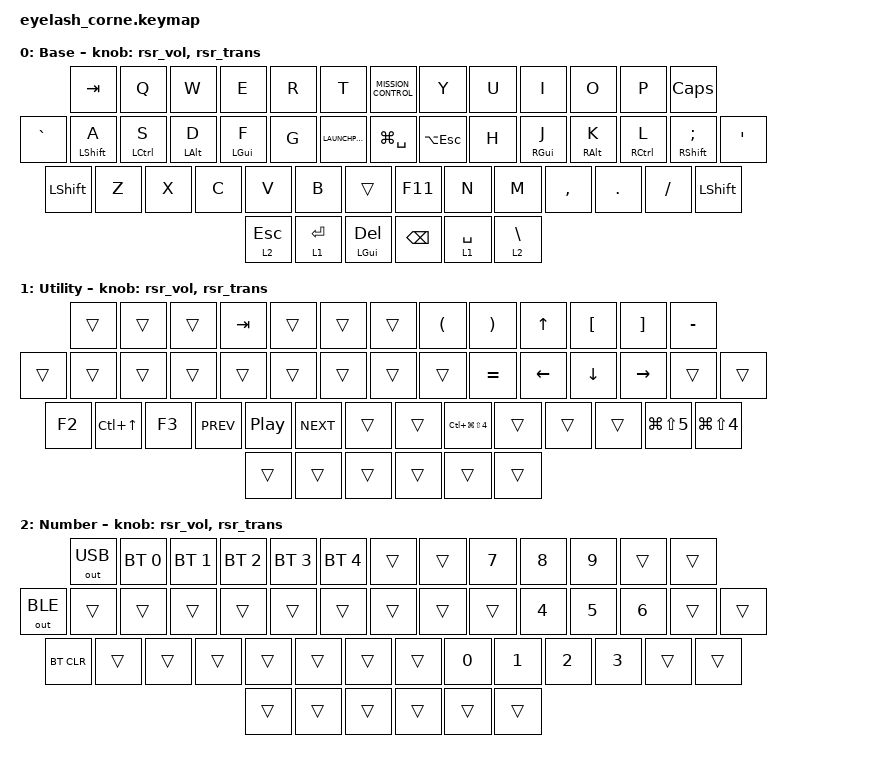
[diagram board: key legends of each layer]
/*
 * Keymap for the Eyelash Peripherals Corne (eyelash_corne shield).
 *
 * 48-key, 5-row matrix - NOT the 42-key foostan corne. Bindings follow the
 * shield's matrix transform, in this order:
 *
 * row0: TAB      Q    W     E     R     T          UP                   Y       U    I      O     P     CAPS
 * row1: GRAVE    A    S     D     F     G  LEFT ENTER RIGHT    H        J    K      L     SEMI  SQT
 * row2: LSHFT    Z    X     C     V     B  ---- STICK ----   N       M    COMMA  DOT   FSLH  LSHFT
 * thr:                 LT(2,ESC) LT(1,RET) MT(LGUI,DEL)      BSPC  LT(1,SPACE) LT(2,BSLH)
 *
 * Thumb keys (left to right, matching the original corne.keymap):
 *   Left : ESC/NUMBER  RET/UTILITY  DEL/CMD
 *   Right: BKSP         SPC/UTILITY  BSLH (tap) / NUMBER (hold)
 * The inner keys are MT/MO-free so the six thumb keys above stay where your
 * original map had them.
 *
 * Hardware:
 *   - Thumb scroller: one EC11 encoder on the LEFT half, bound to volume.
 *   - Thumb stick: five ordinary matrix keys in a cross (matrix column 12), not a
 *     pointing device. Keymap positions: up 6, left 19, click 20, right 21 and
 *     down 35 (the transform's RC(1,12), previously left unbound). Base binds:
 *     UP Mission Control, LEFT Launchpad, RIGHT Opt+Esc, CLICK
 *     Spotlight, DOWN Show Desktop.
 *
 * Layer numbering: 0 = Base, 1 = Utility, 2 = Number.
 *
 * Hold-taps: `hm` (home mods) and `thumb_lt` / `thumb_lt_own` (left/right thumb
 * layer-taps) use `tapping-term-ms = 200`, `require-prior-idle-ms = 175`,
 * `flavor = "balanced"` and `hold-trigger-on-release`. A hold only wins if the
 * interrupting key is still down when the hold key is released, and a key
 * pressed within 175 ms of the previous one is always a tap.
 *
 * Number layer, left half:
 *   TAB   -> OUT_USB
 *   Q W E R T -> BT_SEL 0..4
 *   GRAVE -> OUT_BLE
 *   LSHFT -> BT_CLR (clears the currently selected profile)
 */

#define ZMK_POINTING_DEFAULT_MOVE_VAL 1200
#define ZMK_POINTING_DEFAULT_SCRL_VAL 25

#include <input/processors.dtsi>
#include <zephyr/dt-bindings/input/input-event-codes.h>
#include <behaviors.dtsi>
#include <behaviors/runtime-sensor-rotate.dtsi>
#include <dt-bindings/zmk/bt.h>
#include <dt-bindings/zmk/keys.h>
#include <dt-bindings/zmk/outputs.h>
#include <dt-bindings/zmk/pointing.h>
#include <dt-bindings/zmk/rgb.h>

&soft_off { hold-time-ms = <2000>; };

/* Keymap positions (0-based, the order of the `bindings` arrays):
 * left hand 0-5 / 13-18 / 28-33, right hand 7-12 / 22-27 / 36-41, thumbs 42-47.
 * Combos and `hold-trigger-key-positions` both index these, not matrix cells.
 * LEFT_KEYS is RIGHT_KEYS' complement minus the stick keys 6/19/20/21/35 and thumbs;
 * 34 appears in both on purpose (it is the neutral cell between the halves).
 */
#define LEFT_KEYS 0 1 2 3 4 5 13 14 15 16 17 18 28 29 30 31 32 33 34
#define RIGHT_KEYS 7 8 9 10 11 12 22 23 24 25 26 27 36 37 38 39 40 41 34
#define THUMB_KEYS 42 43 44 45 46 47

/* macOS shortcuts used by the thumb stick. Values are HID usage codes
 * ((page << 16) | id): 0x29F = Desktop Show All Windows (Mission Control),
 * 0x2A2 = Desktop Show All Applications (Launchpad). */
#define MISSION_CONTROL 0xC029F
#define LAUNCHPAD 0xC02A2

/ {
    behaviors {
        /*
         * balanced + hold-trigger-on-release: the hold only wins if the interrupting
         * key is still held when the home key is released. A quick tap stays a tap
         * even during a cross-hand roll, which is what hold-preferred got wrong: any
         * interrupt inside tapping-term-ms was committed to a hold (a stuck modifier).
         *
         * require-prior-idle-ms forces a tap when the previous keystroke was more
         * recent than this, so typing at speed never resolves to a hold.
         */
        hm: home_mods {
            compatible = "zmk,behavior-hold-tap";
            #binding-cells = <2>;
            flavor = "balanced";
            tapping-term-ms = <200>;
            quick-tap-ms = <175>;
            require-prior-idle-ms = <175>;
            bindings = <&kp>, <&kp>;
            hold-trigger-key-positions = <RIGHT_KEYS THUMB_KEYS>;
            hold-trigger-on-release;
        };

        /* Left ESC thumb: hold only triggers from right-hand keys, so the tap stays a tap. */
        thumb_lt: thumb_lt {
            compatible = "zmk,behavior-hold-tap";
            #binding-cells = <2>;
            flavor = "balanced";
            tapping-term-ms = <200>;
            quick-tap-ms = <175>;
            require-prior-idle-ms = <175>;
            bindings = <&mo>, <&kp>;
            hold-trigger-key-positions = <RIGHT_KEYS>;
            hold-trigger-on-release;
        };

        /* Right thumbs (SPC and BSLH): hold only triggers from left-hand/thumb keys. */
        thumb_lt_own: thumb_lt_own {
            compatible = "zmk,behavior-hold-tap";
            #binding-cells = <2>;
            flavor = "balanced";
            tapping-term-ms = <200>;
            quick-tap-ms = <175>;
            require-prior-idle-ms = <175>;
            bindings = <&mo>, <&kp>;
            hold-trigger-key-positions = <LEFT_KEYS THUMB_KEYS>;
            hold-trigger-on-release;
        };

        /*
         * Thumb scroller -> volume.
         * cw-binding is volume up, ccw-binding is volume down.
         * Swap the two if the direction is reversed on your board.
         */
        rsr_vol: rsr_vol {
            compatible = "zmk,behavior-runtime-sensor-rotate";
            #sensor-binding-cells = <0>;
            tap-ms = <5>;
            cw-binding = <&kp C_VOL_UP>;
            ccw-binding = <&kp C_VOL_DN>;
        };

        rsr_trans: rsr_trans {
            compatible = "zmk,behavior-runtime-sensor-rotate";
            #sensor-binding-cells = <0>;
            tap-ms = <0>;
        };
    };

    combos {
        compatible = "zmk,combos";

        /* Hold Q + S + Z for 2 seconds to soft off. */
        softoff {
            bindings = <&soft_off>;
            key-positions = <1 15 29>;
        };
    };

    keymap {
        compatible = "zmk,keymap";

        /* Your original default_layer. */
        default_layer {
            display-name = "Base";
            bindings = <
&kp TAB    &kp Q  &kp W  &kp E     &kp R  &kp T                              &kp MISSION_CONTROL  &kp Y        &kp U  &kp I      &kp O    &kp P     &kp CAPS
&kp GRAVE  &hm LSHFT A  &hm LCTRL S  &hm LALT D  &hm LGUI F  &kp G   &kp LAUNCHPAD  &kp LG(SPACE)  &kp LA(ESC)  &kp H        &hm RGUI J  &hm RALT K  &hm RCTRL L  &hm RSHFT SEMI  &kp SQT
&kp LSHFT  &kp Z  &kp X  &kp C     &kp V  &kp B        &trans                 &kp F11                &kp N        &kp M  &kp COMMA  &kp DOT  &kp FSLH  &kp LSHFT
                         &thumb_lt 2 ESC  &thumb_lt 1 RET  &hm LGUI DEL                                              &kp BSPC  &thumb_lt_own 1 SPACE  &thumb_lt 2 BSLH
            >;

            sensor-bindings = <&rsr_vol &rsr_trans>;
        };

        /* Your original utility_layer. */
        utility_layer {
            display-name = "Utility";
            bindings = <
&trans  &trans  &trans  &kp TAB  &trans  &trans                              &trans           &kp LPAR  &kp RPAR  &kp UP   &kp LBKT  &kp RBKT  &kp MINUS
&trans  &trans  &trans  &trans   &trans  &trans          &trans  &trans  &trans  &kp EQUAL &kp LEFT  &kp DOWN  &kp RIGHT &trans    &trans
&kp F2  &kp LC(UP)  &kp F3  &kp C_PREV  &kp C_PP  &kp C_NEXT   &trans           &trans           &kp LC(LG(LS(N4)))  &trans  &trans  &trans  &kp LG(LS(N5))  &kp LG(LS(N4))
                        &trans  &trans  &trans                                     &trans  &trans  &trans
            >;

            sensor-bindings = <&rsr_vol &rsr_trans>;
        };

        /* Your original number_layer. */
        number_layer {
            display-name = "Number";
            bindings = <
&out OUT_USB  &bt BT_SEL 0  &bt BT_SEL 1  &bt BT_SEL 2  &bt BT_SEL 3  &bt BT_SEL 4    &trans          &trans  &kp N7  &kp N8  &kp N9  &trans  &trans
&out OUT_BLE  &trans  &trans  &trans   &trans  &trans          &trans  &trans  &trans  &trans  &kp N4  &kp N5  &kp N6  &trans  &trans
&bt BT_CLR  &trans  &trans  &trans   &trans  &trans   &trans          &trans           &kp N0  &kp N1  &kp N2  &kp N3  &trans  &trans
                        &trans  &trans  &trans                                     &trans  &trans  &trans
            >;

            sensor-bindings = <&rsr_vol &rsr_trans>;
        };
    };
};
